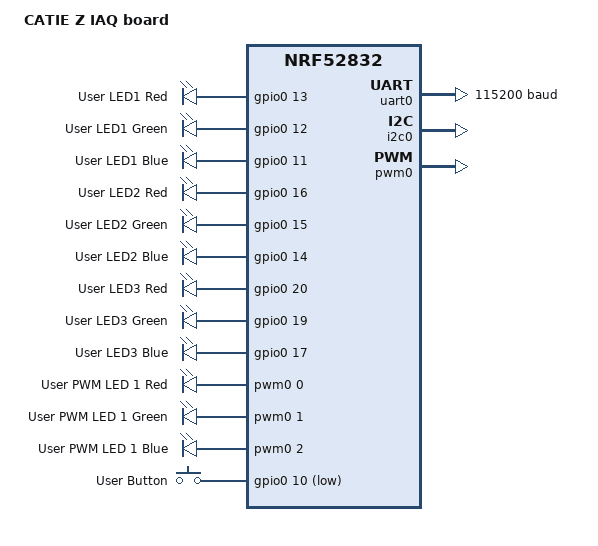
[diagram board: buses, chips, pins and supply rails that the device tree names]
/*
 * Copyright (c) 2023 CATIE
 *
 * SPDX-License-Identifier: Apache-2.0
 */

/dts-v1/;
#include <nordic/nrf52832_qfaa.dtsi>
#include "z_iaq-pinctrl.dtsi"

/ {
	model = "CATIE Z IAQ board";
	compatible = "catie,z-iaq";

	chosen {
		zephyr,console = &uart0;
		zephyr,shell-uart = &uart0;
		zephyr,bt-mon-uart = &uart0;
		zephyr,bt-c2h-uart = &uart0;
		zephyr,sram = &sram0;
		zephyr,flash = &flash0;
	};

	leds {
		compatible = "gpio-leds";
		led1_r: led_0 {
			gpios = <&gpio0 13 GPIO_ACTIVE_HIGH>;
			label = "User LED1 Red";
		};
		led1_g: led_1 {
			gpios = <&gpio0 12 GPIO_ACTIVE_HIGH>;
			label = "User LED1 Green";
		};
		led1_b: led_2 {
			gpios = <&gpio0 11 GPIO_ACTIVE_HIGH>;
			label = "User LED1 Blue";
		};
		led2_r: led_3 {
			gpios = <&gpio0 16 GPIO_ACTIVE_HIGH>;
			label = "User LED2 Red";
		};
		led2_g: led_4 {
			gpios = <&gpio0 15 GPIO_ACTIVE_HIGH>;
			label = "User LED2 Green";
		};
		led2_b: led_5 {
			gpios = <&gpio0 14 GPIO_ACTIVE_HIGH>;
			label = "User LED2 Blue";
		};
		led3_r: led_6 {
			gpios = <&gpio0 20 GPIO_ACTIVE_HIGH>;
			label = "User LED3 Red";
		};
		led3_g: led_7 {
			gpios = <&gpio0 19 GPIO_ACTIVE_HIGH>;
			label = "User LED3 Green";
		};
		led3_b: led_8 {
			gpios = <&gpio0 17 GPIO_ACTIVE_HIGH>;
			label = "User LED3 Blue";
		};
	};

	pwmleds {
		compatible = "pwm-leds";
		pwm_led1_r: pwm_led_0 {
			pwms = <&pwm0 0 PWM_MSEC(20) PWM_POLARITY_INVERTED>;
			label = "User PWM LED 1 Red";
		};
		pwm_led1_g: pwm_led_1 {
			pwms = <&pwm0 1 PWM_MSEC(20) PWM_POLARITY_INVERTED>;
			label = "User PWM LED 1 Green";
		};
		pwm_led1_b: pwm_led_2 {
			pwms = <&pwm0 2 PWM_MSEC(20) PWM_POLARITY_INVERTED>;
			label = "User PWM LED 1 Blue";
		};
	};

	gpio_keys {
		compatible = "gpio-keys";
		user_button: button {
			label = "User Button";
			gpios = <&gpio0 10 GPIO_ACTIVE_LOW>;
		};
	};

	aliases {
		led0 = &led1_r;
		led1-r = &led1_r;
		led1-g = &led1_g;
		led1-b = &led1_b;
		led2-r = &led2_r;
		led2-g = &led2_g;
		led2-b = &led2_b;
		led3-r = &led3_r;
		led3-g = &led3_g;
		led3-b = &led3_b;
		pwm-led0 = &pwm_led1_r;
		pwm-led1 = &pwm_led1_g;
		pwm-led2 = &pwm_led1_b;
		pwm-led1-r = &pwm_led1_r;
		pwm-led1-g = &pwm_led1_g;
		pwm-led1-b = &pwm_led1_b;
		sw0 = &user_button;
	};
};

&uicr {
	gpio-as-nreset;
};

&gpio0 {
	status = "okay";
};

&gpiote0 {
	status = "okay";
};

&uart0 {
	status = "okay";
	compatible = "nordic,nrf-uarte";
	current-speed = <115200>;
	pinctrl-0 = <&uart0_default>;
	pinctrl-1 = <&uart0_sleep>;
	pinctrl-names = "default", "sleep";
};

&i2c0 {
	compatible = "nordic,nrf-twi";
	status = "okay";
	pinctrl-0 = <&i2c0_default>;
	pinctrl-1 = <&i2c0_sleep>;
	pinctrl-names = "default", "sleep";
};

&pwm0 {
	status = "okay";
	pinctrl-0 = <&pwm0_default>;
	pinctrl-1 = <&pwm0_sleep>;
	pinctrl-names = "default", "sleep";
};
